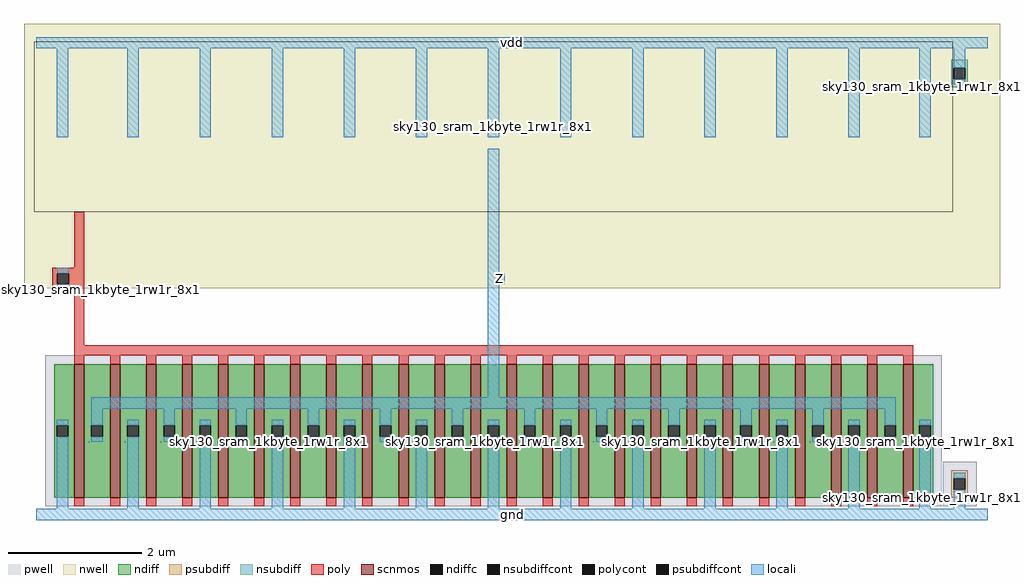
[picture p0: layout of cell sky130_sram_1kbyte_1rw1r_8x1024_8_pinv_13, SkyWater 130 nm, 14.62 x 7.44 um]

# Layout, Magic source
magic
tech sky130A
magscale 1 2
<< nwell >>
rect -36 679 2888 1471
<< pwell >>
rect 2716 25 2818 159
<< psubdiff >>
rect 2742 109 2792 133
rect 2742 75 2750 109
rect 2784 75 2792 109
rect 2742 51 2792 75
<< nsubdiff >>
rect 2742 1339 2792 1363
rect 2742 1305 2750 1339
rect 2784 1305 2792 1339
rect 2742 1281 2792 1305
<< psubdiffcont >>
rect 2750 75 2784 109
<< nsubdiffcont >>
rect 2750 1305 2784 1339
<< poly >>
rect 114 740 144 907
rect 48 724 144 740
rect 48 690 64 724
rect 98 690 144 724
rect 48 674 144 690
rect 114 507 144 674
<< polycont >>
rect 64 690 98 724
<< locali >>
rect 0 1397 2852 1431
rect 62 1130 96 1397
rect 274 1130 308 1397
rect 490 1130 524 1397
rect 706 1130 740 1397
rect 922 1130 956 1397
rect 1138 1130 1172 1397
rect 1354 1130 1388 1397
rect 1570 1130 1604 1397
rect 1786 1130 1820 1397
rect 2002 1130 2036 1397
rect 2218 1130 2252 1397
rect 2434 1130 2468 1397
rect 2646 1130 2680 1397
rect 2750 1339 2784 1397
rect 2750 1289 2784 1305
rect 64 724 98 740
rect 64 674 98 690
rect 1354 724 1388 1096
rect 1354 690 1405 724
rect 1354 318 1388 690
rect 62 17 96 218
rect 274 17 308 218
rect 490 17 524 218
rect 706 17 740 218
rect 922 17 956 218
rect 1138 17 1172 218
rect 1354 17 1388 218
rect 1570 17 1604 218
rect 1786 17 1820 218
rect 2002 17 2036 218
rect 2218 17 2252 218
rect 2434 17 2468 218
rect 2646 17 2680 218
rect 2750 109 2784 125
rect 2750 17 2784 75
rect 0 -17 2852 17
use sky130_sram_1kbyte_1rw1r_8x1024_8_contact_16  sky130_sram_1kbyte_1rw1r_8x1024_8_contact_16_0
transform 1 0 48 0 1 674
box 0 0 1 1
use sky130_sram_1kbyte_1rw1r_8x1024_8_contact_29  sky130_sram_1kbyte_1rw1r_8x1024_8_contact_29_0
transform 1 0 2742 0 1 51
box 0 0 1 1
use sky130_sram_1kbyte_1rw1r_8x1024_8_contact_28  sky130_sram_1kbyte_1rw1r_8x1024_8_contact_28_0
transform 1 0 2742 0 1 1281
box 0 0 1 1
use sky130_sram_1kbyte_1rw1r_8x1024_8_nmos_m24_w2_000_sli_dli_da_p  sky130_sram_1kbyte_1rw1r_8x1024_8_nmos_m24_w2_000_sli_dli_da_p_0
transform 1 0 54 0 1 51
box -26 -26 2660 456
use sky130_sram_1kbyte_1rw1r_8x1024_8_pmos_m24_w2_000_sli_dli_da_p  sky130_sram_1kbyte_1rw1r_8x1024_8_pmos_m24_w2_000_sli_dli_da_p_0
transform 1 0 54 0 1 963
box -59 -56 2693 454
<< labels >>
rlabel locali s 81 707 81 707 4 A
port 1 nsew
rlabel locali s 1388 707 1388 707 4 Z
port 2 nsew
rlabel locali s 1426 0 1426 0 4 gnd
port 3 nsew
rlabel locali s 1426 1414 1426 1414 4 vdd
port 4 nsew
<< properties >>
string FIXED_BBOX 0 0 2852 1414
string GDS_FILE $PDKPATH/libs.ref/sky130_sram_macros/gds/sky130_sram_1kbyte_1rw1r_8x1024_8.gds
string GDS_END 326526
string GDS_START 323120
<< end >>

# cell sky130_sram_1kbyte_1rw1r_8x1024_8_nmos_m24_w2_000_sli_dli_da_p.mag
magic
tech sky130A
magscale 1 2
<< pwell >>
rect -26 -26 2660 426
<< scnmos >>
rect 60 0 90 400
rect 168 0 198 400
rect 276 0 306 400
rect 384 0 414 400
rect 492 0 522 400
rect 600 0 630 400
rect 708 0 738 400
rect 816 0 846 400
rect 924 0 954 400
rect 1032 0 1062 400
rect 1140 0 1170 400
rect 1248 0 1278 400
rect 1356 0 1386 400
rect 1464 0 1494 400
rect 1572 0 1602 400
rect 1680 0 1710 400
rect 1788 0 1818 400
rect 1896 0 1926 400
rect 2004 0 2034 400
rect 2112 0 2142 400
rect 2220 0 2250 400
rect 2328 0 2358 400
rect 2436 0 2466 400
rect 2544 0 2574 400
<< ndiff >>
rect 0 217 60 400
rect 0 183 8 217
rect 42 183 60 217
rect 0 0 60 183
rect 90 217 168 400
rect 90 183 112 217
rect 146 183 168 217
rect 90 0 168 183
rect 198 217 276 400
rect 198 183 220 217
rect 254 183 276 217
rect 198 0 276 183
rect 306 217 384 400
rect 306 183 328 217
rect 362 183 384 217
rect 306 0 384 183
rect 414 217 492 400
rect 414 183 436 217
rect 470 183 492 217
rect 414 0 492 183
rect 522 217 600 400
rect 522 183 544 217
rect 578 183 600 217
rect 522 0 600 183
rect 630 217 708 400
rect 630 183 652 217
rect 686 183 708 217
rect 630 0 708 183
rect 738 217 816 400
rect 738 183 760 217
rect 794 183 816 217
rect 738 0 816 183
rect 846 217 924 400
rect 846 183 868 217
rect 902 183 924 217
rect 846 0 924 183
rect 954 217 1032 400
rect 954 183 976 217
rect 1010 183 1032 217
rect 954 0 1032 183
rect 1062 217 1140 400
rect 1062 183 1084 217
rect 1118 183 1140 217
rect 1062 0 1140 183
rect 1170 217 1248 400
rect 1170 183 1192 217
rect 1226 183 1248 217
rect 1170 0 1248 183
rect 1278 217 1356 400
rect 1278 183 1300 217
rect 1334 183 1356 217
rect 1278 0 1356 183
rect 1386 217 1464 400
rect 1386 183 1408 217
rect 1442 183 1464 217
rect 1386 0 1464 183
rect 1494 217 1572 400
rect 1494 183 1516 217
rect 1550 183 1572 217
rect 1494 0 1572 183
rect 1602 217 1680 400
rect 1602 183 1624 217
rect 1658 183 1680 217
rect 1602 0 1680 183
rect 1710 217 1788 400
rect 1710 183 1732 217
rect 1766 183 1788 217
rect 1710 0 1788 183
rect 1818 217 1896 400
rect 1818 183 1840 217
rect 1874 183 1896 217
rect 1818 0 1896 183
rect 1926 217 2004 400
rect 1926 183 1948 217
rect 1982 183 2004 217
rect 1926 0 2004 183
rect 2034 217 2112 400
rect 2034 183 2056 217
rect 2090 183 2112 217
rect 2034 0 2112 183
rect 2142 217 2220 400
rect 2142 183 2164 217
rect 2198 183 2220 217
rect 2142 0 2220 183
rect 2250 217 2328 400
rect 2250 183 2272 217
rect 2306 183 2328 217
rect 2250 0 2328 183
rect 2358 217 2436 400
rect 2358 183 2380 217
rect 2414 183 2436 217
rect 2358 0 2436 183
rect 2466 217 2544 400
rect 2466 183 2488 217
rect 2522 183 2544 217
rect 2466 0 2544 183
rect 2574 217 2634 400
rect 2574 183 2592 217
rect 2626 183 2634 217
rect 2574 0 2634 183
<< ndiffc >>
rect 8 183 42 217
rect 112 183 146 217
rect 220 183 254 217
rect 328 183 362 217
rect 436 183 470 217
rect 544 183 578 217
rect 652 183 686 217
rect 760 183 794 217
rect 868 183 902 217
rect 976 183 1010 217
rect 1084 183 1118 217
rect 1192 183 1226 217
rect 1300 183 1334 217
rect 1408 183 1442 217
rect 1516 183 1550 217
rect 1624 183 1658 217
rect 1732 183 1766 217
rect 1840 183 1874 217
rect 1948 183 1982 217
rect 2056 183 2090 217
rect 2164 183 2198 217
rect 2272 183 2306 217
rect 2380 183 2414 217
rect 2488 183 2522 217
rect 2592 183 2626 217
<< poly >>
rect 60 426 2574 456
rect 60 400 90 426
rect 168 400 198 426
rect 276 400 306 426
rect 384 400 414 426
rect 492 400 522 426
rect 600 400 630 426
rect 708 400 738 426
rect 816 400 846 426
rect 924 400 954 426
rect 1032 400 1062 426
rect 1140 400 1170 426
rect 1248 400 1278 426
rect 1356 400 1386 426
rect 1464 400 1494 426
rect 1572 400 1602 426
rect 1680 400 1710 426
rect 1788 400 1818 426
rect 1896 400 1926 426
rect 2004 400 2034 426
rect 2112 400 2142 426
rect 2220 400 2250 426
rect 2328 400 2358 426
rect 2436 400 2466 426
rect 2544 400 2574 426
rect 60 -26 90 0
rect 168 -26 198 0
rect 276 -26 306 0
rect 384 -26 414 0
rect 492 -26 522 0
rect 600 -26 630 0
rect 708 -26 738 0
rect 816 -26 846 0
rect 924 -26 954 0
rect 1032 -26 1062 0
rect 1140 -26 1170 0
rect 1248 -26 1278 0
rect 1356 -26 1386 0
rect 1464 -26 1494 0
rect 1572 -26 1602 0
rect 1680 -26 1710 0
rect 1788 -26 1818 0
rect 1896 -26 1926 0
rect 2004 -26 2034 0
rect 2112 -26 2142 0
rect 2220 -26 2250 0
rect 2328 -26 2358 0
rect 2436 -26 2466 0
rect 2544 -26 2574 0
<< locali >>
rect 112 267 2522 301
rect 8 217 42 233
rect 8 167 42 183
rect 112 217 146 267
rect 112 167 146 183
rect 220 217 254 233
rect 220 167 254 183
rect 328 217 362 267
rect 328 167 362 183
rect 436 217 470 233
rect 436 167 470 183
rect 544 217 578 267
rect 544 167 578 183
rect 652 217 686 233
rect 652 167 686 183
rect 760 217 794 267
rect 760 167 794 183
rect 868 217 902 233
rect 868 167 902 183
rect 976 217 1010 267
rect 976 167 1010 183
rect 1084 217 1118 233
rect 1084 167 1118 183
rect 1192 217 1226 267
rect 1192 167 1226 183
rect 1300 217 1334 233
rect 1300 167 1334 183
rect 1408 217 1442 267
rect 1408 167 1442 183
rect 1516 217 1550 233
rect 1516 167 1550 183
rect 1624 217 1658 267
rect 1624 167 1658 183
rect 1732 217 1766 233
rect 1732 167 1766 183
rect 1840 217 1874 267
rect 1840 167 1874 183
rect 1948 217 1982 233
rect 1948 167 1982 183
rect 2056 217 2090 267
rect 2056 167 2090 183
rect 2164 217 2198 233
rect 2164 167 2198 183
rect 2272 217 2306 267
rect 2272 167 2306 183
rect 2380 217 2414 233
rect 2380 167 2414 183
rect 2488 217 2522 267
rect 2488 167 2522 183
rect 2592 217 2626 233
rect 2592 167 2626 183
use sky130_sram_1kbyte_1rw1r_8x1024_8_contact_11  sky130_sram_1kbyte_1rw1r_8x1024_8_contact_11_0
transform 1 0 2584 0 1 167
box 0 0 1 1
use sky130_sram_1kbyte_1rw1r_8x1024_8_contact_11  sky130_sram_1kbyte_1rw1r_8x1024_8_contact_11_1
transform 1 0 2480 0 1 167
box 0 0 1 1
use sky130_sram_1kbyte_1rw1r_8x1024_8_contact_11  sky130_sram_1kbyte_1rw1r_8x1024_8_contact_11_2
transform 1 0 2372 0 1 167
box 0 0 1 1
use sky130_sram_1kbyte_1rw1r_8x1024_8_contact_11  sky130_sram_1kbyte_1rw1r_8x1024_8_contact_11_3
transform 1 0 2264 0 1 167
box 0 0 1 1
use sky130_sram_1kbyte_1rw1r_8x1024_8_contact_11  sky130_sram_1kbyte_1rw1r_8x1024_8_contact_11_4
transform 1 0 2156 0 1 167
box 0 0 1 1
use sky130_sram_1kbyte_1rw1r_8x1024_8_contact_11  sky130_sram_1kbyte_1rw1r_8x1024_8_contact_11_5
transform 1 0 2048 0 1 167
box 0 0 1 1
use sky130_sram_1kbyte_1rw1r_8x1024_8_contact_11  sky130_sram_1kbyte_1rw1r_8x1024_8_contact_11_6
transform 1 0 1940 0 1 167
box 0 0 1 1
use sky130_sram_1kbyte_1rw1r_8x1024_8_contact_11  sky130_sram_1kbyte_1rw1r_8x1024_8_contact_11_7
transform 1 0 1832 0 1 167
box 0 0 1 1
use sky130_sram_1kbyte_1rw1r_8x1024_8_contact_11  sky130_sram_1kbyte_1rw1r_8x1024_8_contact_11_8
transform 1 0 1724 0 1 167
box 0 0 1 1
use sky130_sram_1kbyte_1rw1r_8x1024_8_contact_11  sky130_sram_1kbyte_1rw1r_8x1024_8_contact_11_9
transform 1 0 1616 0 1 167
box 0 0 1 1
use sky130_sram_1kbyte_1rw1r_8x1024_8_contact_11  sky130_sram_1kbyte_1rw1r_8x1024_8_contact_11_10
transform 1 0 1508 0 1 167
box 0 0 1 1
use sky130_sram_1kbyte_1rw1r_8x1024_8_contact_11  sky130_sram_1kbyte_1rw1r_8x1024_8_contact_11_11
transform 1 0 1400 0 1 167
box 0 0 1 1
use sky130_sram_1kbyte_1rw1r_8x1024_8_contact_11  sky130_sram_1kbyte_1rw1r_8x1024_8_contact_11_12
transform 1 0 1292 0 1 167
box 0 0 1 1
use sky130_sram_1kbyte_1rw1r_8x1024_8_contact_11  sky130_sram_1kbyte_1rw1r_8x1024_8_contact_11_13
transform 1 0 1184 0 1 167
box 0 0 1 1
use sky130_sram_1kbyte_1rw1r_8x1024_8_contact_11  sky130_sram_1kbyte_1rw1r_8x1024_8_contact_11_14
transform 1 0 1076 0 1 167
box 0 0 1 1
use sky130_sram_1kbyte_1rw1r_8x1024_8_contact_11  sky130_sram_1kbyte_1rw1r_8x1024_8_contact_11_15
transform 1 0 968 0 1 167
box 0 0 1 1
use sky130_sram_1kbyte_1rw1r_8x1024_8_contact_11  sky130_sram_1kbyte_1rw1r_8x1024_8_contact_11_16
transform 1 0 860 0 1 167
box 0 0 1 1
use sky130_sram_1kbyte_1rw1r_8x1024_8_contact_11  sky130_sram_1kbyte_1rw1r_8x1024_8_contact_11_17
transform 1 0 752 0 1 167
box 0 0 1 1
use sky130_sram_1kbyte_1rw1r_8x1024_8_contact_11  sky130_sram_1kbyte_1rw1r_8x1024_8_contact_11_18
transform 1 0 644 0 1 167
box 0 0 1 1
use sky130_sram_1kbyte_1rw1r_8x1024_8_contact_11  sky130_sram_1kbyte_1rw1r_8x1024_8_contact_11_19
transform 1 0 536 0 1 167
box 0 0 1 1
use sky130_sram_1kbyte_1rw1r_8x1024_8_contact_11  sky130_sram_1kbyte_1rw1r_8x1024_8_contact_11_20
transform 1 0 428 0 1 167
box 0 0 1 1
use sky130_sram_1kbyte_1rw1r_8x1024_8_contact_11  sky130_sram_1kbyte_1rw1r_8x1024_8_contact_11_21
transform 1 0 320 0 1 167
box 0 0 1 1
use sky130_sram_1kbyte_1rw1r_8x1024_8_contact_11  sky130_sram_1kbyte_1rw1r_8x1024_8_contact_11_22
transform 1 0 212 0 1 167
box 0 0 1 1
use sky130_sram_1kbyte_1rw1r_8x1024_8_contact_11  sky130_sram_1kbyte_1rw1r_8x1024_8_contact_11_23
transform 1 0 104 0 1 167
box 0 0 1 1
use sky130_sram_1kbyte_1rw1r_8x1024_8_contact_11  sky130_sram_1kbyte_1rw1r_8x1024_8_contact_11_24
transform 1 0 0 0 1 167
box 0 0 1 1
<< labels >>
rlabel locali s 25 200 25 200 4 S
port 1 nsew
rlabel locali s 885 200 885 200 4 S
port 1 nsew
rlabel locali s 1749 200 1749 200 4 S
port 1 nsew
rlabel locali s 2397 200 2397 200 4 S
port 1 nsew
rlabel locali s 2181 200 2181 200 4 S
port 1 nsew
rlabel locali s 2609 200 2609 200 4 S
port 1 nsew
rlabel locali s 1965 200 1965 200 4 S
port 1 nsew
rlabel locali s 1317 200 1317 200 4 S
port 1 nsew
rlabel locali s 237 200 237 200 4 S
port 1 nsew
rlabel locali s 1101 200 1101 200 4 S
port 1 nsew
rlabel locali s 453 200 453 200 4 S
port 1 nsew
rlabel locali s 669 200 669 200 4 S
port 1 nsew
rlabel locali s 1533 200 1533 200 4 S
port 1 nsew
rlabel locali s 1317 284 1317 284 4 D
port 2 nsew
rlabel poly s 1317 441 1317 441 4 G
port 3 nsew
<< properties >>
string FIXED_BBOX -25 -26 2659 456
string GDS_FILE $PDKPATH/libs.ref/sky130_sram_macros/gds/sky130_sram_1kbyte_1rw1r_8x1024_8.gds
string GDS_END 91160
string GDS_START 85126
<< end >>
